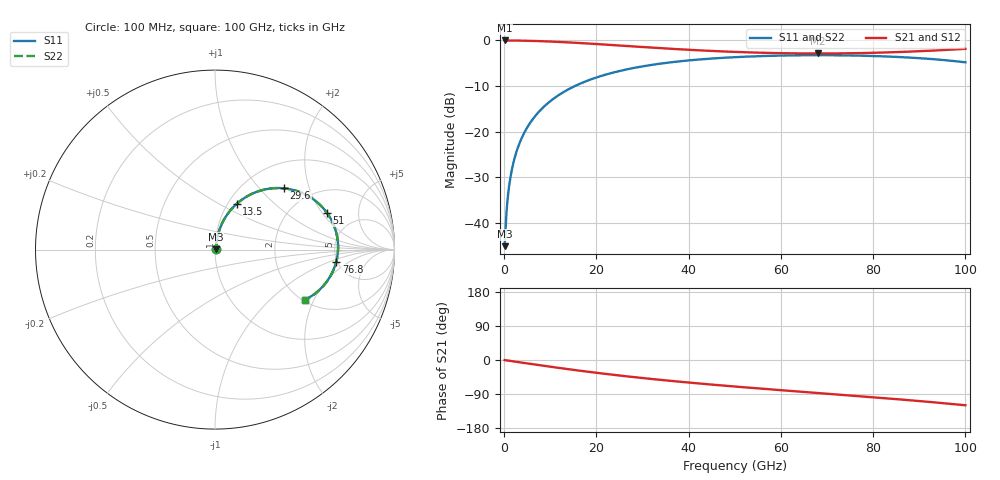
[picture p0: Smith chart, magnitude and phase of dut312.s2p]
! Touchstone file exported from HFSS 2026.1.0
!  File:  C:/ffzhzh/LocalFiles/Ansys_Project_Files/temp_train_RDL_312_1783502542_9504.aedt
!  Generated:  05:23:57 PM Jul  8, 2026
!  Design:  RDL
!  Project:  temp_train_RDL_312_1783502542_9504
! Variables:
!  h_bsmrdl = 2um
!  h_ox = 20um
!  h_rdl = 5um
!  h_sub = 80um
!  h_tmrdl = 2.11um
!  h_tsv = 80um
!  h_via = 3um
!  l_bsmrdl = 300um
!  l_sub = 811.99um
!  l_tmrdl = 411.99um
!  m_sub = 200um
!  pitch = 47.13um
!  r_tsv = 6um
!  s_tmrdl = 10um
!  w_bsmrdl = 18um
!  w_sub = 500um
!  w_tmrdl = 14.2um
!  x_tsv_center1 = 419.09um
!  x_tsv_center2 = 737.09um
!  x_tsv_center3 = 1163.28um
!  x_tsv_center4 = 1481.28um
!  x_tsv_center5 = 1907.47um
!  x_tsv_center6 = 2225.47um
# GHz S MA R 50.000000
! Terminal data exported
! Port[1] = TM_RDL1_1_T1
! Port[2] = TM_RDL1_1_T2
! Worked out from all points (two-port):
!   1000 points, 100 MHz to 100 GHz, reference 50 ohm
!   highest |S21| = -0.04 dB at 100 MHz (marker M1); lowest = -2.9 dB at 68.1 GHz (marker M2)
!   |S21| within 3 dB of the highest: start of sweep to end of sweep
!   lowest |S11| = -45.0 dB at 100 MHz (marker M3), VSWR 1.01, Z = 50.5 + j0.239 ohm
!   |S11| at or under -10 dB: start of sweep to 15.37 GHz
!   |S22| runs from -45.0 to -3.3 dB; largest |S21 - S12| = 1.4e-14
!   S11 on the Smith chart (normalised r, x): 100 MHz: 1.01, +0.00; 13.5 GHz: 1.10, +0.61; 29.6 GHz: 1.48, +1.38; 51 GHz: 3.11, +2.23; 76.8 GHz: 4.92, -1.22; 100 GHz: 2.05, -1.71
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0.1  0.005599 25.0  0.9949 -0.2  0.9949 -0.2  0.005599 25.0
! Gamma 0 0 0 0
! Port Impedance 50 0 50 0
0.4  0.0108 60.1  0.9947 -0.8  0.9947 -0.8  0.0108 60.1
0.9  0.02158 73.0  0.9941 -1.7  0.9941 -1.7  0.02158 73.0
1.2  0.02813 75.7  0.9937 -2.2  0.9937 -2.2  0.02813 75.7
1.5  0.0347 77.2  0.9934 -2.7  0.9934 -2.7  0.0347 77.2
2.4  0.05445 79.0  0.9922 -4.4  0.9922 -4.4  0.05445 79.0
3.6  0.08076 78.8  0.9902 -6.5  0.9902 -6.5  0.08076 78.8
5.3  0.1177 77.1  0.9861 -9.5  0.9861 -9.5  0.1177 77.1
7.5  0.1644 74.0  0.979 -13.4  0.979 -13.4  0.1645 74.0
10.2  0.2196 69.8  0.9675 -18.1  0.9675 -18.1  0.2196 69.8
13.5  0.2828 64.6  0.9501 -23.6  0.9501 -23.6  0.2828 64.6
16.8  0.3407 59.5  0.9303 -28.9  0.9303 -28.9  0.3407 59.5
22.6  0.4291 51.0  0.8922 -37.6  0.8922 -37.6  0.4292 51.0
29.6  0.5139 41.6  0.846 -47.1  0.846 -47.1  0.5139 41.6
33.4  0.5508 37.0  0.8226 -51.8  0.8226 -51.8  0.5508 36.9
50.1  0.6535 19.0  0.7453 -70.1  0.7453 -70.1  0.6535 19.0
51  0.6568 18.1  0.7425 -71.0  0.7425 -71.0  0.6568 18.1
66.7  0.686 3.6  0.7167 -85.9  0.7167 -85.9  0.686 3.5
68.1  0.6862 2.3  0.7165 -87.2  0.7165 -87.2  0.6862 2.2
76.8  0.679 -5.6  0.7232 -95.3  0.7232 -95.3  0.679 -5.7
83.4  0.6631 -11.9  0.7371 -101.6  0.7371 -101.6  0.6632 -12.0
100  0.5739 -29.1  0.8054 -119.5  0.8054 -119.5  0.574 -29.4
